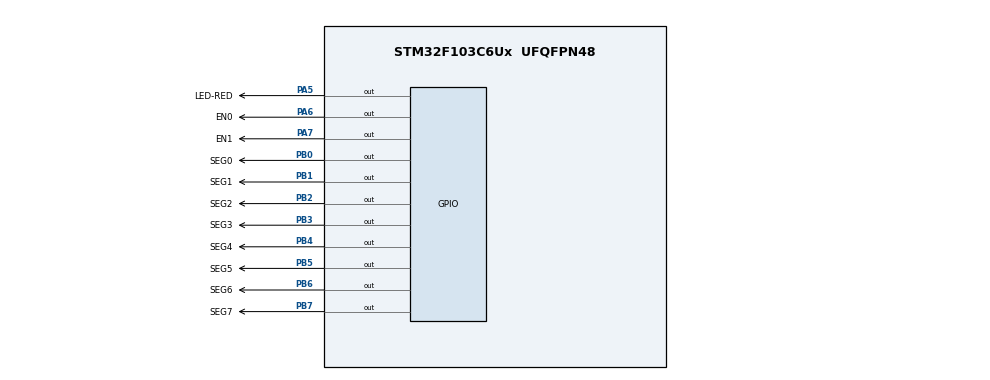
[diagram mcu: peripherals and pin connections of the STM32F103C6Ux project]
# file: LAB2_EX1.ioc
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Mcu.Family=STM32F1
Mcu.Name=STM32F103C6Ux
Mcu.Package=UFQFPN48
NVIC.PriorityGroup=NVIC_PRIORITYGROUP_4
NVIC.TIM2_IRQn=true\:0\:0\:false\:false\:true\:true\:true
PA5.GPIO_Label=LED-RED
PA5.Signal=GPIO_Output
PA6.GPIO_Label=EN0
PA6.Signal=GPIO_Output
PA7.GPIO_Label=EN1
PA7.Signal=GPIO_Output
PB0.GPIO_Label=SEG0
PB0.Signal=GPIO_Output
PB1.GPIO_Label=SEG1
PB1.Signal=GPIO_Output
PB2.GPIO_Label=SEG2
PB2.Signal=GPIO_Output
PB3.GPIO_Label=SEG3
PB3.Signal=GPIO_Output
PB4.GPIO_Label=SEG4
PB4.Signal=GPIO_Output
PB5.GPIO_Label=SEG5
PB5.Signal=GPIO_Output
PB6.GPIO_Label=SEG6
PB6.Signal=GPIO_Output
PB7.GPIO_Label=SEG7
PB7.Signal=GPIO_Output
ProjectManager.HeapSize=0x200
ProjectManager.StackSize=0x400
ProjectManager.TargetToolchain=STM32CubeIDE
RCC.APB1Freq_Value=8000000
RCC.APB2Freq_Value=8000000
TIM2.Period=9
TIM2.Prescaler=7999
VP_SYS_VS_ND.Mode=No_Debug
VP_TIM2_VS_ClockSourceINT.Mode=Internal
board=custom

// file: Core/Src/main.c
/* USER CODE BEGIN Header */
/**
  ******************************************************************************
  * @file           : main.c
  * @brief          : Main program body
  ******************************************************************************
  * @attention
  *
  * <h2><center>&copy; Copyright (c) 2022 STMicroelectronics.
  * All rights reserved.</center></h2>
  *
  * This software component is licensed by ST under BSD 3-Clause license,
  * the "License"; You may not use this file except in compliance with the
  * License. You may obtain a copy of the License at:
  *                        opensource.org/licenses/BSD-3-Clause
  *
  ******************************************************************************
  */
/* USER CODE END Header */
#include "main.h"

TIM_HandleTypeDef htim2;

void SystemClock_Config(void);
static void MX_GPIO_Init(void);
static void MX_TIM2_Init(void);

/* USER CODE BEGIN 0 */
void display7SEG(int num){
	// Hexadecimal for each number which is present by 7 segment led
	//for example, number 0 correspond with 0x3f,
	uint16_t display[10] = {0x3f, 0x06, 0x5b, 0x4f, 0x66, 0x6d, 0x7D, 0x07, 0x7F, 0x6f};
	uint16_t bit_var = display[num];
	HAL_GPIO_WritePin(GPIOB, bit_var, RESET);
	HAL_GPIO_WritePin(GPIOB, ~bit_var, SET);
}
/* USER CODE END 0 */

int main(void)
{

  /* MCU Configuration--------------------------------------------------------*/

  /* Reset of all peripherals, Initializes the Flash interface and the Systick. */
  HAL_Init();

  /* Configure the system clock */
  SystemClock_Config();

  /* Initialize all configured peripherals */
  MX_GPIO_Init();
  MX_TIM2_Init();
  /* USER CODE BEGIN 2 */
   HAL_TIM_Base_Start_IT(&htim2);
  /* USER CODE END 2 */

  /* Infinite loop */
  while (1)
  {

  }
}

void SystemClock_Config(void)
{
  RCC_OscInitTypeDef RCC_OscInitStruct = {0};
  RCC_ClkInitTypeDef RCC_ClkInitStruct = {0};

  /** Initializes the RCC Oscillators according to the specified parameters
  * in the RCC_OscInitTypeDef structure.
  */
  RCC_OscInitStruct.OscillatorType = RCC_OSCILLATORTYPE_HSI;
  RCC_OscInitStruct.HSIState = RCC_HSI_ON;
  RCC_OscInitStruct.HSICalibrationValue = RCC_HSICALIBRATION_DEFAULT;
  RCC_OscInitStruct.PLL.PLLState = RCC_PLL_NONE;
  if (HAL_RCC_OscConfig(&RCC_OscInitStruct) != HAL_OK)
  {
    Error_Handler();
  }
  /** Initializes the CPU, AHB and APB buses clocks
  */
  RCC_ClkInitStruct.ClockType = RCC_CLOCKTYPE_HCLK|RCC_CLOCKTYPE_SYSCLK
                              |RCC_CLOCKTYPE_PCLK1|RCC_CLOCKTYPE_PCLK2;
  RCC_ClkInitStruct.SYSCLKSource = RCC_SYSCLKSOURCE_HSI;
  RCC_ClkInitStruct.AHBCLKDivider = RCC_SYSCLK_DIV1;
  RCC_ClkInitStruct.APB1CLKDivider = RCC_HCLK_DIV1;
  RCC_ClkInitStruct.APB2CLKDivider = RCC_HCLK_DIV1;

  if (HAL_RCC_ClockConfig(&RCC_ClkInitStruct, FLASH_LATENCY_0) != HAL_OK)
  {
    Error_Handler();
  }
}

static void MX_TIM2_Init(void)
{

  TIM_ClockConfigTypeDef sClockSourceConfig = {0};
  TIM_MasterConfigTypeDef sMasterConfig = {0};

  htim2.Instance = TIM2;
  htim2.Init.Prescaler = 7999;
  htim2.Init.CounterMode = TIM_COUNTERMODE_UP;
  htim2.Init.Period = 9;
  htim2.Init.ClockDivision = TIM_CLOCKDIVISION_DIV1;
  htim2.Init.AutoReloadPreload = TIM_AUTORELOAD_PRELOAD_DISABLE;
  if (HAL_TIM_Base_Init(&htim2) != HAL_OK)
  {
    Error_Handler();
  }
  sClockSourceConfig.ClockSource = TIM_CLOCKSOURCE_INTERNAL;
  if (HAL_TIM_ConfigClockSource(&htim2, &sClockSourceConfig) != HAL_OK)
  {
    Error_Handler();
  }
  sMasterConfig.MasterOutputTrigger = TIM_TRGO_RESET;
  sMasterConfig.MasterSlaveMode = TIM_MASTERSLAVEMODE_DISABLE;
  if (HAL_TIMEx_MasterConfigSynchronization(&htim2, &sMasterConfig) != HAL_OK)
  {
    Error_Handler();
  }

}

static void MX_GPIO_Init(void)
{
  GPIO_InitTypeDef GPIO_InitStruct = {0};

  /* GPIO Ports Clock Enable */
  __HAL_RCC_GPIOA_CLK_ENABLE();
  __HAL_RCC_GPIOB_CLK_ENABLE();

  /*Configure GPIO pin Output Level */
  HAL_GPIO_WritePin(GPIOA, LED_RED_Pin|EN0_Pin|EN1_Pin, GPIO_PIN_RESET);

  /*Configure GPIO pin Output Level */
  HAL_GPIO_WritePin(GPIOB, SEG0_Pin|SEG1_Pin|SEG2_Pin|SEG3_Pin
                          |SEG4_Pin|SEG5_Pin|SEG6_Pin|SEG7_Pin, GPIO_PIN_RESET);

  /*Configure GPIO pins : LED_RED_Pin EN0_Pin EN1_Pin */
  GPIO_InitStruct.Pin = LED_RED_Pin|EN0_Pin|EN1_Pin;
  GPIO_InitStruct.Mode = GPIO_MODE_OUTPUT_PP;
  GPIO_InitStruct.Pull = GPIO_NOPULL;
  GPIO_InitStruct.Speed = GPIO_SPEED_FREQ_LOW;
  HAL_GPIO_Init(GPIOA, &GPIO_InitStruct);

  /*Configure GPIO pins : SEG0_Pin SEG1_Pin SEG2_Pin SEG3_Pin
                           SEG4_Pin SEG5_Pin SEG6_Pin SEG7_Pin */
  GPIO_InitStruct.Pin = SEG0_Pin|SEG1_Pin|SEG2_Pin|SEG3_Pin
                          |SEG4_Pin|SEG5_Pin|SEG6_Pin|SEG7_Pin;
  GPIO_InitStruct.Mode = GPIO_MODE_OUTPUT_PP;
  GPIO_InitStruct.Pull = GPIO_NOPULL;
  GPIO_InitStruct.Speed = GPIO_SPEED_FREQ_LOW;
  HAL_GPIO_Init(GPIOB, &GPIO_InitStruct);

}

/* USER CODE BEGIN 4 */
/*
 *variable counter is used to turn on and turn off
 *led each 0.5s
 * */
int counter = 50;
int counter1 = 100;
int status = 0; //Utilize status to change led
void HAL_TIM_PeriodElapsedCallback(TIM_HandleTypeDef* htim)
{
	counter1--;
	if(counter1 <= 0){
		counter1 = 100;
		HAL_GPIO_TogglePin(LED_RED_GPIO_Port, LED_RED_Pin);
	}
	counter--;// if counter == 0, it'll call
		if(status == 0){
			// if counter <= 0, EN0 is in reset state, EN1 is in set state.
			if(counter <=0 ) {
				counter = 50;
				status = 1 - status;
			}
			HAL_GPIO_WritePin(EN0_GPIO_Port, EN0_Pin, RESET);
			HAL_GPIO_WritePin(EN1_GPIO_Port, EN1_Pin, SET);
			display7SEG(1); // call display7SEG function
		}
		if(status == 1){
			// if counter <= 0, EN0 is in set state, EN1 is in reset state.
			if(counter <=0 ) {
				counter = 50;
				status = 1- status;
			}
			HAL_GPIO_WritePin(GPIOA, EN0_Pin, SET);
			HAL_GPIO_WritePin(GPIOA, EN1_Pin, RESET);
			display7SEG(2);// call display7SEG function
			}
}
/* USER CODE END 4 */

void Error_Handler(void)
{
  __disable_irq();
  while (1)
  {
  }
}

/************************ (C) COPYRIGHT STMicroelectronics *****END OF FILE****/
